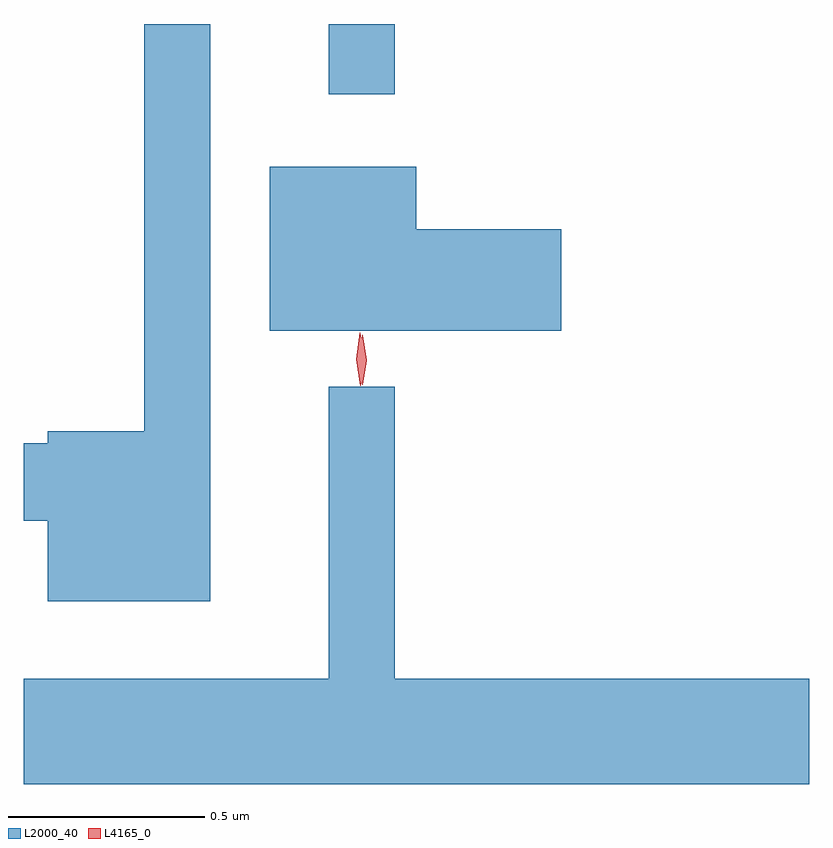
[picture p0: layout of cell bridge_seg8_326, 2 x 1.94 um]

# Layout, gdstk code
import gdstk
lib = gdstk.Library(unit=1e-6, precision=1e-09)
def R(c, l, rs):  # rectangles x0, y0, x1, y1
    for r in rs: c.add(gdstk.rectangle(r[:2], r[2:], *l))
def P(c, l, *ps):  # polygons
    for p in ps: c.add(gdstk.Polygon(p, *l))
L2000_40 = (2000, 40)
L4165_0 = (4165, 0)

bridge_seg8_326 = lib.new_cell('bridge_seg8_326')
R(bridge_seg8_326, L2000_40, [(968.961,1911.433,969.129,1911.612)])
P(bridge_seg8_326, L2000_40, [(968.659,1911.612),(968.491,1911.612),(968.491,1910.574),(968.246,1910.574),(968.246,1910.544),(968.185,1910.544),(968.185,1910.346),(968.246,1910.346),(968.246,1910.141),(968.659,1910.141)],
  [(969.554,1911.089),(969.184,1911.089),(969.184,1911.249),(968.811,1911.249),(968.811,1910.831),(969.554,1910.831)],
  [(970.185,1909.944),(969.129,1909.944),(969.129,1910.688),(968.961,1910.688),(968.961,1909.944),(968.185,1909.944),(968.185,1909.676),(970.185,1909.676)])
P(bridge_seg8_326, L4165_0, [(969.042,1910.69),(969.032,1910.758),(969.041,1910.826),(969.042,1910.826),(969.042,1910.826),(969.052,1910.758),(969.043,1910.69),(969.043,1910.69)],
  [(969.047,1910.693),(969.038,1910.756),(969.047,1910.819),(969.048,1910.82),(969.048,1910.819),(969.058,1910.756),(969.048,1910.693),(969.048,1910.693)])

lib.write_gds('bridge_seg8_326.gds')
